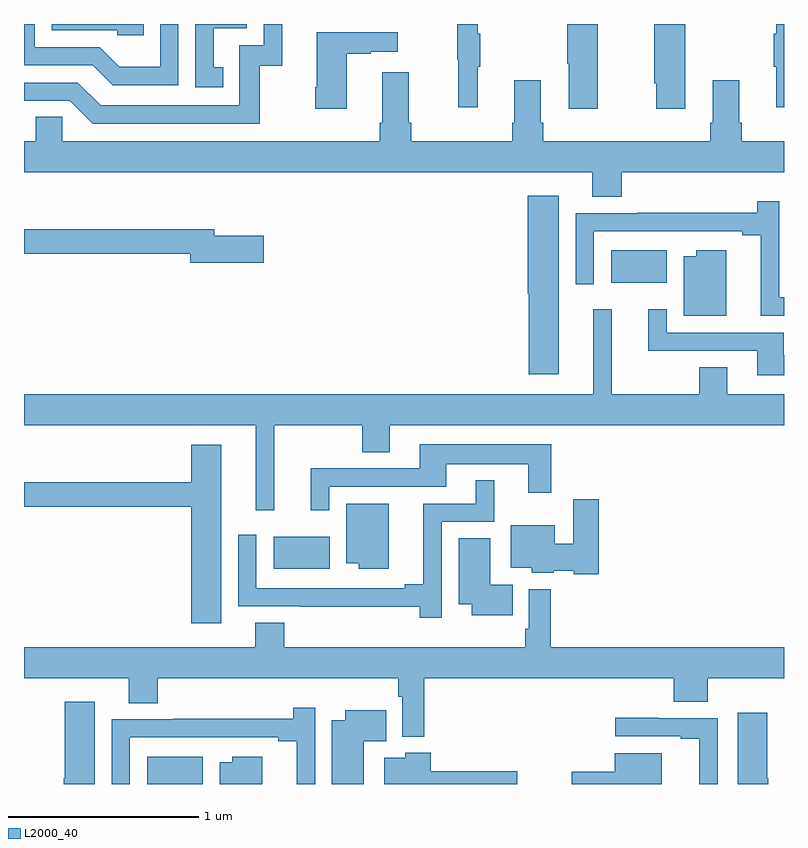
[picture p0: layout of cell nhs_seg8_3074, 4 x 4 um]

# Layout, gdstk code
import gdstk
lib = gdstk.Library(unit=1e-6, precision=1e-09)
def R(c, l, rs):  # rectangles x0, y0, x1, y1
    for r in rs: c.add(gdstk.rectangle(r[:2], r[2:], *l))
def P(c, l, *ps):  # polygons
    for p in ps: c.add(gdstk.Polygon(p, *l))
L2000_40 = (2000, 40)

nhs_seg8_3074 = lib.new_cell('nhs_seg8_3074')
R(nhs_seg8_3074, L2000_40, [(301.649,1159.9,301.942,1160.044), (302.315,1161.032,302.608,1161.202), (304.091,1162.538,304.384,1162.708)])
P(nhs_seg8_3074, L2000_40, [(302.048,1163.673),(301.999,1163.673),(301.999,1163.877),(302.172,1163.877),(302.172,1163.9),(301.902,1163.9),(301.902,1163.568),(302.048,1163.568)],
  [(304.02,1163.9),(303.859,1163.9),(303.859,1163.692),(303.866,1163.692),(303.866,1163.454),(304.02,1163.454)],
  [(305,1163.9),(304.958,1163.9),(304.958,1163.849),(304.947,1163.849),(304.947,1163.675),(304.958,1163.675),(304.958,1163.463),(305,1163.463)],
  [(303.389,1163.675),(303.4,1163.675),(303.4,1163.849),(303.389,1163.849),(303.389,1163.9),(303.279,1163.9),(303.279,1163.712),(303.286,1163.712),(303.286,1163.463),(303.389,1163.463)],
  [(301.812,1163.9),(301.716,1163.9),(301.716,1163.674),(301.502,1163.674),(301.398,1163.778),(301.056,1163.778),(301.056,1163.9),(301,1163.9),(301,1163.682),(301.361,1163.682),(301.466,1163.577),(301.812,1163.577)],
  [(304.48,1163.9),(304.316,1163.9),(304.316,1163.589),(304.327,1163.589),(304.327,1163.454),(304.48,1163.454)],
  [(301.631,1163.9),(301.146,1163.9),(301.146,1163.868),(301.491,1163.868),(301.491,1163.841),(301.631,1163.841)],
  [(302.242,1163.679),(302.36,1163.679),(302.36,1163.9),(302.262,1163.9),(302.262,1163.787),(302.133,1163.787),(302.133,1163.472),(301.404,1163.472),(301.284,1163.592),(301,1163.592),(301,1163.496),(301.242,1163.496),(301.362,1163.376),(302.242,1163.376)],
  [(302.698,1163.743),(302.825,1163.743),(302.825,1163.753),(302.968,1163.753),(302.968,1163.857),(302.54,1163.857),(302.54,1163.566),(302.533,1163.566),(302.533,1163.454),(302.698,1163.454)],
  [(304.145,1163.12),(305,1163.12),(305,1163.284),(304.778,1163.284),(304.778,1163.38),(304.765,1163.38),(304.765,1163.605),(304.625,1163.605),(304.625,1163.38),(304.613,1163.38),(304.613,1163.284),(303.734,1163.284),(303.734,1163.38),(303.721,1163.38),(303.721,1163.605),(303.581,1163.605),(303.581,1163.38),(303.569,1163.38),(303.569,1163.284),(303.038,1163.284),(303.038,1163.38),(303.025,1163.38),(303.025,1163.647),(302.885,1163.647),(302.885,1163.38),(302.873,1163.38),(302.873,1163.284),(301.2,1163.284),(301.2,1163.411),(301.061,1163.411),(301.061,1163.284),(301,1163.284),(301,1163.12),(303.992,1163.12),(303.992,1162.99),(304.145,1162.99)],
  [(303.814,1162.996),(303.65,1162.996),(303.65,1162.479),(303.656,1162.479),(303.656,1162.056),(303.814,1162.056)],
  [(305,1162.461),(304.974,1162.461),(304.974,1162.966),(304.858,1162.966),(304.858,1162.907),(304.228,1162.907),(304.228,1162.905),(303.903,1162.905),(303.903,1162.53),(303.999,1162.53),(303.999,1162.809),(304.781,1162.809),(304.781,1162.789),(304.877,1162.789),(304.877,1162.365),(305,1162.365)],
  [(302.263,1162.785),(302.002,1162.785),(302.002,1162.819),(301,1162.819),(301,1162.69),(301.874,1162.69),(301.874,1162.643),(302.263,1162.643)],
  [(304.696,1162.708),(304.538,1162.708),(304.538,1162.678),(304.472,1162.678),(304.472,1162.364),(304.696,1162.364)],
  [(305,1162.156),(304.999,1162.156),(304.999,1162.275),(304.383,1162.275),(304.383,1162.399),(304.286,1162.399),(304.286,1162.179),(304.859,1162.179),(304.859,1162.052),(305,1162.052)],
  [(302.318,1161.788),(302.779,1161.788),(302.779,1161.646),(302.926,1161.646),(302.926,1161.788),(305,1161.788),(305,1161.952),(304.702,1161.952),(304.702,1162.094),(304.555,1162.094),(304.555,1161.952),(304.094,1161.952),(304.094,1162.399),(303.995,1162.399),(303.995,1161.952),(301,1161.952),(301,1161.788),(302.219,1161.788),(302.219,1161.342),(302.318,1161.342)],
  [(302.607,1161.465),(303.223,1161.465),(303.223,1161.584),(303.653,1161.584),(303.653,1161.432),(303.775,1161.432),(303.775,1161.688),(303.083,1161.688),(303.083,1161.561),(302.51,1161.561),(302.51,1161.342),(302.607,1161.342)],
  [(302.038,1161.685),(301.88,1161.685),(301.88,1161.487),(301,1161.487),(301,1161.358),(301.88,1161.358),(301.88,1160.745),(302.038,1160.745)],
  [(303.198,1161.279),(303.475,1161.279),(303.475,1161.499),(303.377,1161.499),(303.377,1161.375),(303.101,1161.375),(303.101,1160.951),(303.005,1160.951),(303.005,1160.931),(302.223,1160.931),(302.223,1161.211),(302.127,1161.211),(302.127,1160.835),(302.452,1160.835),(302.452,1160.834),(303.082,1160.834),(303.082,1160.775),(303.198,1160.775)],
  [(304.025,1161.4),(303.89,1161.4),(303.89,1161.164),(303.793,1161.164),(303.793,1161.262),(303.563,1161.262),(303.563,1161.038),(303.672,1161.038),(303.672,1161.011),(303.789,1161.011),(303.789,1161.022),(303.894,1161.022),(303.894,1161.004),(304.025,1161.004)],
  [(302.92,1161.376),(302.696,1161.376),(302.696,1161.062),(302.762,1161.062),(302.762,1161.032),(302.92,1161.032)],
  [(303.572,1160.95),(303.454,1160.95),(303.454,1161.194),(303.287,1161.194),(303.287,1160.846),(303.356,1160.846),(303.356,1160.789),(303.572,1160.789)],
  [(303.107,1160.456),(304.421,1160.456),(304.421,1160.332),(304.598,1160.332),(304.598,1160.456),(305,1160.456),(305,1160.62),(303.773,1160.62),(303.773,1160.926),(303.657,1160.926),(303.657,1160.716),(303.637,1160.716),(303.637,1160.62),(302.369,1160.62),(302.369,1160.75),(302.216,1160.75),(302.216,1160.62),(301,1160.62),(301,1160.456),(301.55,1160.456),(301.55,1160.326),(301.703,1160.326),(301.703,1160.456),(302.971,1160.456),(302.971,1160.36),(302.991,1160.36),(302.991,1160.15),(303.107,1160.15)],
  [(301.372,1160.332),(301.214,1160.332),(301.214,1159.929),(301.208,1159.929),(301.208,1159.9),(301.372,1159.9)],
  [(301.557,1160.145),(302.339,1160.145),(302.339,1160.125),(302.435,1160.125),(302.435,1159.9),(302.532,1159.9),(302.532,1160.302),(302.416,1160.302),(302.416,1160.243),(301.786,1160.243),(301.786,1160.241),(301.461,1160.241),(301.461,1159.9),(301.557,1159.9)],
  [(302.788,1160.126),(302.906,1160.126),(302.906,1160.287),(302.69,1160.287),(302.69,1160.236),(302.621,1160.236),(302.621,1159.9),(302.788,1159.9)],
  [(304.918,1159.929),(304.913,1159.929),(304.913,1160.275),(304.757,1160.275),(304.757,1159.9),(304.918,1159.9)],
  [(304.65,1160.247),(304.337,1160.247),(304.337,1160.249),(304.113,1160.249),(304.113,1160.151),(304.457,1160.151),(304.457,1160.139),(304.553,1160.139),(304.553,1159.9),(304.65,1159.9)],
  [(303.595,1159.967),(303.14,1159.967),(303.14,1160.065),(303.006,1160.065),(303.006,1160.038),(302.897,1160.038),(302.897,1159.9),(303.595,1159.9)],
  [(304.357,1160.062),(304.109,1160.062),(304.109,1159.964),(303.882,1159.964),(303.882,1159.9),(304.357,1159.9)],
  [(302.254,1160.044),(302.096,1160.044),(302.096,1160.014),(302.03,1160.014),(302.03,1159.9),(302.254,1159.9)])

lib.write_gds('nhs_seg8_3074.gds')
